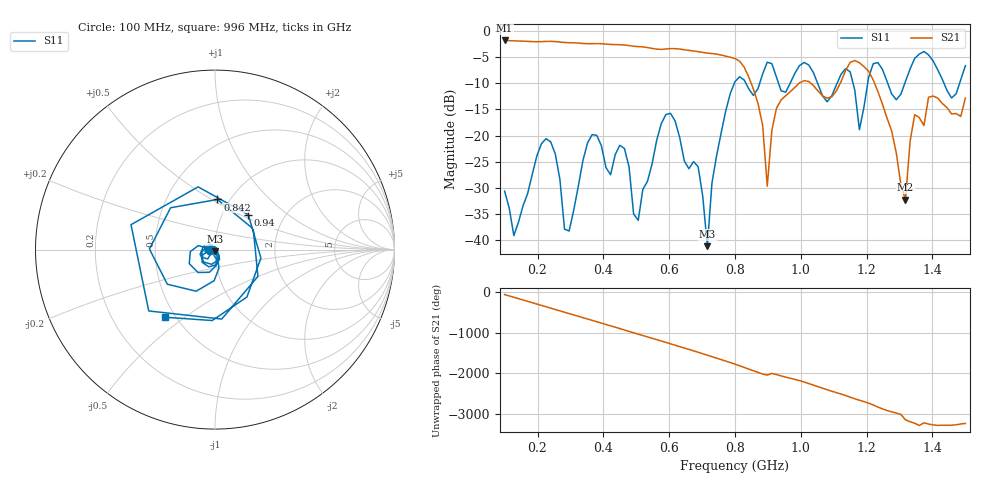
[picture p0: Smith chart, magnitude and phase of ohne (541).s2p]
! NanoVNA-App
! Date: 2025-09-25 14:25:00
! Start: 100MHz Stop: 1,5GHz Points: 101
! S-Parameter data: F S11 S21 S12 S22
# Hz S RI R 50
!  Frequency  S11_Real  S11_Imag  S21_Real  S21_Imag  S12_Real  S12_Imag  S22_Real  S22_Imag
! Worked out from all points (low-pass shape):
!   101 points, 100 MHz to 1.5 GHz, reference 50 ohm
!   highest |S21| = -1.79 dB at 100 MHz (marker M1); lowest = -32.3 dB at 1.318 GHz (marker M2)
!   |S21| within 3 dB of the highest: start of sweep to 771.7 MHz
!   lowest |S11| = -41.2 dB at 716 MHz (marker M3), VSWR 1.02, Z = 49.9 - j0.861 ohm
!   |S11| at or under -10 dB: start of sweep to 797.9 MHz; 833.2 MHz to 875 MHz (41.83 MHz wide, 4.9 % of centre); 1.051 GHz to 1.11 GHz (59.08 MHz wide, 5.47 % of centre) (the widest 3 of 7)
!   S12 and S22 are empty: the file has one direction only
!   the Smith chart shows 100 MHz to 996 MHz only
!   S11 on the Smith chart (normalised r, x): 100 MHz: 0.94, -0.01; 842 MHz: 0.88, +0.53; 940 MHz: 1.32, +0.55; 996 MHz: 0.44, -0.43
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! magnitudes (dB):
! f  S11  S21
! 100 MHz  -30.6  -1.8
! 128 MHz  -39.1  -1.9
! 226 MHz  -20.6  -2.0
! 296 MHz  -38.3  -2.2
! 338 MHz  -24.7  -2.4
! 464 MHz  -22.5  -2.7
! 506 MHz  -36.2  -3.0
! 576 MHz  -17.7  -3.5
! 688 MHz  -26.0  -3.9
! 716 MHz  -41.2  -4.2
! 800 MHz  -9.7  -5.2
! 842 MHz  -11.1  -8.8
! 898 MHz  -6.0  -29.7
! 940 MHz  -11.4  -13.2
! 996 MHz  -6.6  -9.9
! 1.038 GHz  -7.9  -10.4
! 1.178 GHz  -18.9  -6.1
! 1.22 GHz  -6.2  -9.4
! 1.276 GHz  -12.0  -19.1
! 1.318 GHz  -9.6  -32.3
! 1.346 GHz  -5.2  -16.0
! 1.5 GHz  -6.6  -12.8
